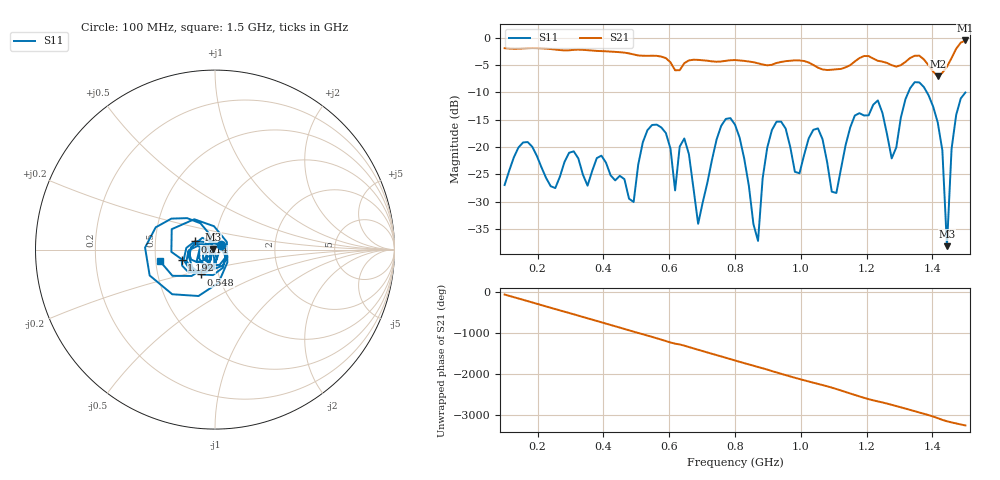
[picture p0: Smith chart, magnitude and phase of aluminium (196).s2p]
! NanoVNA-App
! Date: 2025-09-25 14:56:48
! Start: 100MHz Stop: 1,5GHz Points: 101
! S-Parameter data: F S11 S21 S12 S22
# Hz S RI R 50
!  Frequency  S11_Real  S11_Imag  S21_Real  S21_Imag  S12_Real  S12_Imag  S22_Real  S22_Imag
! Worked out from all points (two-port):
!   101 points, 100 MHz to 1.5 GHz, reference 50 ohm
!   highest |S21| = -0.51 dB at 1.5 GHz (marker M1); lowest = -7.1 dB at 1.416 GHz (marker M2)
!   |S21| within 3 dB of the highest: start of sweep to 578.4 MHz; 1.46 GHz to end of sweep (the widest 2 of 4)
!   lowest |S11| = -38.1 dB at 1.444 GHz (marker M3), VSWR 1.03, Z = 48.8 + j0.39 ohm
!   |S11| at or under -10 dB: start of sweep to 1.327 GHz; 1.383 GHz to end of sweep
!   S12 and S22 are empty: the file has one direction only
!   S11 on the Smith chart (normalised r, x): 100 MHz: 1.07, +0.06; 548 MHz: 0.82, -0.23; 814 MHz: 0.79, +0.07; 1.192 GHz: 0.68, -0.08; 1.5 GHz: 0.52, -0.07
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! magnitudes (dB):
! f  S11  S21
! 100 MHz  -27.0  -1.9
! 338 MHz  -25.1  -2.2
! 492 MHz  -30.1  -3.1
! 548 MHz  -16.0  -3.3
! 576 MHz  -16.4  -3.5
! 618 MHz  -27.9  -6.0
! 646 MHz  -18.4  -4.7
! 688 MHz  -34.1  -4.1
! 800 MHz  -15.9  -4.1
! 814 MHz  -18.3  -4.2
! 870 MHz  -37.2  -4.7
! 912 MHz  -16.9  -5.0
! 996 MHz  -24.8  -4.2
! 1.038 GHz  -16.9  -5.0
! 1.108 GHz  -28.4  -5.8
! 1.192 GHz  -14.2  -3.4
! 1.276 GHz  -22.1  -5.0
! 1.346 GHz  -8.1  -3.3
! 1.416 GHz  -15.5  -7.1
! 1.444 GHz  -38.1  -5.3
! 1.458 GHz  -20.3  -3.7
! 1.5 GHz  -10.0  -0.5
